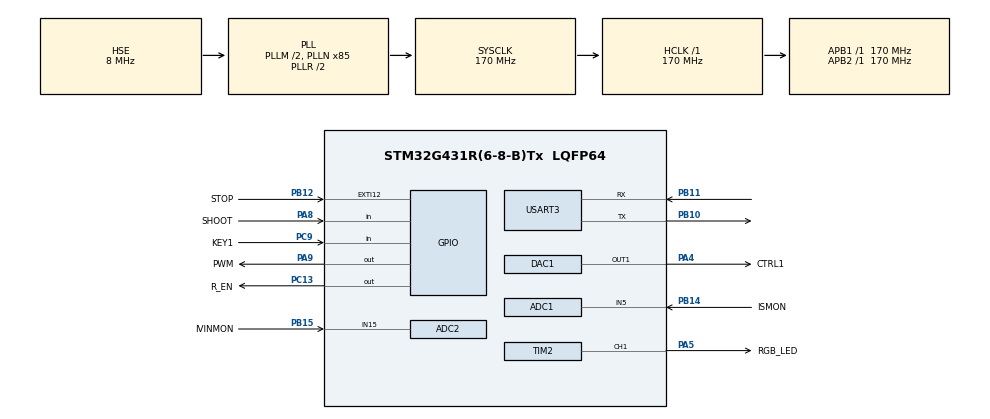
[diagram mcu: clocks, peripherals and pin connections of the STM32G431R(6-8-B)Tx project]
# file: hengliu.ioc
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ADC1.Channel-1\#ChannelRegularConversion=ADC_CHANNEL_5
ADC1.NbrOfConversionFlag=1
ADC1.OffsetNumber-1\#ChannelRegularConversion=ADC_OFFSET_NONE
ADC1.Rank-1\#ChannelRegularConversion=1
ADC1.SamplingTime-1\#ChannelRegularConversion=ADC_SAMPLETIME_247CYCLES_5
ADC1.master=1
ADC2.Channel-1\#ChannelRegularConversion=ADC_CHANNEL_15
ADC2.NbrOfConversionFlag=1
ADC2.OffsetNumber-1\#ChannelRegularConversion=ADC_OFFSET_NONE
ADC2.Rank-1\#ChannelRegularConversion=1
ADC2.SamplingTime-1\#ChannelRegularConversion=ADC_SAMPLETIME_247CYCLES_5
Dma.Request0=TIM2_CH1
Dma.TIM2_CH1.0.Direction=DMA_MEMORY_TO_PERIPH
Dma.TIM2_CH1.0.EventEnable=DISABLE
Dma.TIM2_CH1.0.Instance=DMA1_Channel1
Dma.TIM2_CH1.0.MemDataAlignment=DMA_MDATAALIGN_WORD
Dma.TIM2_CH1.0.MemInc=DMA_MINC_ENABLE
Dma.TIM2_CH1.0.Mode=DMA_NORMAL
Dma.TIM2_CH1.0.PeriphDataAlignment=DMA_PDATAALIGN_WORD
Dma.TIM2_CH1.0.PeriphInc=DMA_PINC_DISABLE
Dma.TIM2_CH1.0.Polarity=HAL_DMAMUX_REQ_GEN_RISING
Dma.TIM2_CH1.0.Priority=DMA_PRIORITY_LOW
Dma.TIM2_CH1.0.RequestNumber=1
Dma.TIM2_CH1.0.SignalID=NONE
Dma.TIM2_CH1.0.SyncEnable=DISABLE
Dma.TIM2_CH1.0.SyncPolarity=HAL_DMAMUX_SYNC_NO_EVENT
Dma.TIM2_CH1.0.SyncRequestNumber=1
Dma.TIM2_CH1.0.SyncSignalID=NONE
IWDG.Prescaler=IWDG_PRESCALER_32
IWDG.Reload=199
Mcu.Family=STM32G4
Mcu.Name=STM32G431R(6-8-B)Tx
Mcu.Package=LQFP64
NVIC.DMA1_Channel1_IRQn=true\:7\:0\:true\:false\:true\:false\:true\:true
NVIC.EXTI15_10_IRQn=true\:1\:0\:true\:false\:true\:true\:true\:true
NVIC.PriorityGroup=NVIC_PRIORITYGROUP_4
NVIC.TIM6_DAC_IRQn=true\:0\:0\:false\:false\:true\:true\:true\:true
PA13.Mode=Serial_Wire
PA13.Signal=SYS_JTMS-SWDIO
PA14.Mode=Serial_Wire
PA14.Signal=SYS_JTCK-SWCLK
PA4.GPIO_Label=CTRL1
PA4.Signal=COMP_DAC11_group
PA5.GPIO_Label=RGB_LED
PA5.Signal=S_TIM2_CH1
PA8.GPIO_Label=SHOOT
PA8.GPIO_PuPd=GPIO_PULLUP
PA8.Signal=GPIO_Input
PA9.GPIO_Label=PWM
PA9.GPIO_ModeDefaultOutputPP=GPIO_MODE_OUTPUT_PP
PA9.GPIO_PuPd=GPIO_PULLDOWN
PA9.GPIO_Speed=GPIO_SPEED_FREQ_LOW
PA9.Signal=GPIO_Output
PB10.Mode=Asynchronous
PB10.Signal=USART3_TX
PB11.Mode=Asynchronous
PB11.Signal=USART3_RX
PB12.GPIO_Label=STOP
PB12.GPIO_ModeDefaultEXTI=GPIO_MODE_IT_FALLING
PB12.Signal=GPXTI12
PB14.GPIO_Label=ISMON
PB14.Mode=IN5-Single-Ended
PB14.Signal=ADC1_IN5
PB15.GPIO_Label=IVINMON
PB15.Mode=IN15-Single-Ended
PB15.Signal=ADC2_IN15
PC13.GPIO_Label=R_EN
PC13.Signal=GPIO_Output
PC9.GPIO_Label=KEY1
PC9.GPIO_PuPd=GPIO_PULLUP
PC9.Signal=GPIO_Input
PF0-OSC_IN.Mode=HSE-External-Oscillator
PF0-OSC_IN.Signal=RCC_OSC_IN
PF1-OSC_OUT.Mode=HSE-External-Oscillator
PF1-OSC_OUT.Signal=RCC_OSC_OUT
ProjectManager.HeapSize=0x200
ProjectManager.StackSize=0x400
ProjectManager.TargetToolchain=CMake
RCC.ADC12Freq_Value=170000000
RCC.AHBFreq_Value=170000000
RCC.APB1Freq_Value=170000000
RCC.APB1TimFreq_Value=170000000
RCC.APB2Freq_Value=170000000
RCC.APB2TimFreq_Value=170000000
RCC.CK48CLockSelection=RCC_USBCLKSOURCE_HSI48
RCC.CortexFreq_Value=170000000
RCC.EXTERNAL_CLOCK_VALUE=12288000
RCC.EnbaleCSS=true
RCC.HCLKFreq_Value=170000000
RCC.HSE_VALUE=8000000
RCC.HSI48_VALUE=48000000
RCC.HSI_VALUE=16000000
RCC.LSE_VALUE=32768
RCC.PLLM=RCC_PLLM_DIV2
RCC.PLLN=85
RCC.PLLSourceVirtual=RCC_PLLSOURCE_HSE
RCC.SYSCLKFreq_VALUE=170000000
RCC.SYSCLKSource=RCC_SYSCLKSOURCE_PLLCLK
RCC.USBFreq_Value=48000000
RCC.VCOOutputFreq_Value=340000000
SH.COMP_DAC11_group.0=DAC1_OUT1,DAC_OUT1
SH.S_TIM2_CH1.0=TIM2_CH1,PWM Generation1 CH1
TIM2.Channel-PWM\ Generation1\ CH1=TIM_CHANNEL_1
USART3.VirtualMode-Asynchronous=VM_ASYNC
VP_IWDG_VS_IWDG.Mode=IWDG_Activate
VP_SYS_VS_DBSignals.Mode=DisableDeadBatterySignals
VP_TIM6_VS_ClockSourceINT.Mode=Enable_Timer
board=custom

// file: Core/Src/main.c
/* USER CODE BEGIN Header */
/**
  ******************************************************************************
  * @file           : main.c
  * @brief          : Main program body
  ******************************************************************************
  * @attention
  *
  * Copyright (c) 2026 STMicroelectronics.
  * All rights reserved.
  *
  * This software is licensed under terms that can be found in the LICENSE file
  * in the root directory of this software component.
  * If no LICENSE file comes with this software, it is provided AS-IS.
  *
  ******************************************************************************
  */
/* USER CODE END Header */
#include "main.h"
#include "adc.h"
#include "dac.h"
#include "dma.h"
#include "iwdg.h"
#include "tim.h"
#include "usart.h"
#include "gpio.h"

/* USER CODE BEGIN PD */
// 测试模式 (K2 在 CubeMX 里引脚名叫 KEY1)
// 0: 按住K2出光, 松手关
// 1: 按一下开, 再按一下关
// 2: 按一下开始循环, 开1s关100ms, 再按一下停
#ifndef BENCH_MODE
#define BENCH_MODE        1
#endif
#if BENCH_MODE > 2
#error "BENCH_MODE must be 0, 1 or 2"
#endif

#define TEST_DAC_VALUE    3645    // K2测试时的DAC设定值
#define BENCH_ON_MS       1000
#define BENCH_OFF_MS      100

// SHOOT外部控制 1: 出光跟着SHOOT电平走, K2只能停  0: 不用SHOOT
#ifndef SHOOT_CTRL
#define SHOOT_CTRL        0
#endif
#define SHOOT_DAC_VALUE   TEST_DAC_VALUE  // 第一次接激光器先改成1215(约6A)

#define KEY_DEBOUNCE_MS   20      // 按键消抖
#define SHOOT_DEBOUNCE_MS 5       // SHOOT输入消抖
#define FAULT_FILTER_MS   5       // STOP连续低5ms才算故障
#define FAULT_BLINK_MS    250     // 故障时指示灯闪烁间隔

#define DAC_STEP          50      // DAC缓升, 每ms加50
#define START_MASK_EXTRA  100     // 启动屏蔽 = 缓升时间 + 100ms
#define START_MASK_MAX    200     // 屏蔽时间最长200ms

#define CUR_OK_MS         100     // 电流正常持续100ms才亮灯
#define CUR_TIMEOUT_MS    5       // 采样超过5ms没更新就不算
#define CUR_TOL_PCT       20      // 允许偏差 +-20%

/* USER CODE END PD */

/* USER CODE BEGIN PV */
volatile LaserState_t laser_state = LASER_IDLE;
volatile uint16_t start_mask_cnt = 0;      // 启动屏蔽倒计时
volatile uint16_t fault_cnt = 0;           // STOP低电平滤波计数
volatile uint16_t shoot_dac = 0;           // SHOOT触发用的DAC值, 0=不出光

static volatile uint16_t dac_target = 0;
static volatile uint16_t dac_now = 0;
static volatile uint16_t led_blink_cnt = 0;

static volatile uint8_t  shoot_en = 0;
static volatile uint8_t  shoot_active = 1; // 消抖后的SHOOT, 1=有信号
static volatile uint16_t shoot_cnt = 0;
static volatile uint8_t  shoot_on_req = 0;

static volatile uint16_t key_cnt = 0;
static volatile uint8_t  key_down = 0;     // 消抖后确认按下
static volatile uint8_t  key_req = 0;      // 请求主循环启动
static volatile uint8_t  key_wait_up = 0;  // 要先松开按键

// ISMON电流采样, 调试时在Watch窗口看
volatile uint16_t ismon_adc = 0;
volatile uint16_t ismon_target = 0;
volatile uint8_t  ismon_ok = 0;
static volatile uint16_t ismon_age = CUR_TIMEOUT_MS;
static volatile uint16_t ismon_good_cnt = 0;

static volatile uint32_t tim6_cnt = 0;     // TIM6任务执行次数, 喂狗用
static uint32_t wdg_last_cnt = 0;

#if BENCH_MODE != 0
static volatile uint8_t  bench_run = 0;
static volatile uint16_t bench_time = 0;
#endif

/* USER CODE END PV */

void SystemClock_Config(void);
/* USER CODE BEGIN PFP */
static void DAC_SetValue(uint16_t val);
static void TIM6_Start_1ms(void);
static void Stop_IT_Off(void);
static uint8_t Stop_IT_On(void);
static uint16_t Calc_Mask_Time(uint16_t dac);
static void DAC_Ramp(void);
static void Stop_Check(void);
static void Shoot_Debounce(void);
static void Shoot_Task(void);
static void Key_Scan(void);
static void Key_Task(void);
static void Current_Sample(void);
static void Current_LED_Update(void);
static void Fault_LED_Blink(void);
static void IWDG_Feed(void);
#if BENCH_MODE != 0
static void Bench_Task(void);
#endif

/* USER CODE END PFP */

/* USER CODE BEGIN 0 */
static void DAC_SetValue(uint16_t val)
{
  if (val > 4095) val = 4095;

  if (HAL_DAC_SetValue(&hdac1, DAC_CHANNEL_1, DAC_ALIGN_12B_R, val) != HAL_OK)
  {
    Error_Handler();
  }
}

// TIM6配成1ms中断, 分频按实际PCLK1算
static void TIM6_Start_1ms(void)
{
  uint32_t clk = HAL_RCC_GetPCLK1Freq();

  // APB1有分频时定时器时钟x2
  if ((RCC->CFGR & RCC_CFGR_PPRE1) != 0)
  {
    clk *= 2;
  }

  __HAL_TIM_DISABLE(&htim6);
  __HAL_TIM_DISABLE_IT(&htim6, TIM_IT_UPDATE);
  __HAL_TIM_SET_PRESCALER(&htim6, clk / 1000000 - 1);   // 1MHz
  __HAL_TIM_SET_AUTORELOAD(&htim6, 1000 - 1);           // 1ms
  __HAL_TIM_SET_COUNTER(&htim6, 0);
  HAL_TIM_GenerateEvent(&htim6, TIM_EVENTSOURCE_UPDATE);
  __HAL_TIM_CLEAR_FLAG(&htim6, TIM_FLAG_UPDATE);

  if (HAL_TIM_Base_Start_IT(&htim6) != HAL_OK)
  {
    Error_Handler();
  }
}

static void Stop_IT_Off(void)
{
  EXTI->IMR1 &= ~(uint32_t)STOP_Pin;
  __HAL_GPIO_EXTI_CLEAR_IT(STOP_Pin);
  HAL_NVIC_ClearPendingIRQ(STOP_EXTI_IRQn);
}

// 打开STOP中断, 返回0说明STOP现在就是低电平, 没有打开
static uint8_t Stop_IT_On(void)
{
  __HAL_GPIO_EXTI_CLEAR_IT(STOP_Pin);
  HAL_NVIC_ClearPendingIRQ(STOP_EXTI_IRQn);

  if (HAL_GPIO_ReadPin(STOP_GPIO_Port, STOP_Pin) == GPIO_PIN_RESET)
  {
    return 0;
  }
  EXTI->IMR1 |= (uint32_t)STOP_Pin;
  return 1;
}

// 启动屏蔽时间: DAC缓升要的时间再加100ms, 最多200ms
static uint16_t Calc_Mask_Time(uint16_t dac)
{
  uint32_t t = ((uint32_t)dac + DAC_STEP - 1) / DAC_STEP + START_MASK_EXTRA;

  if (t > START_MASK_MAX) t = START_MASK_MAX;
  return (uint16_t)t;
}

// DAC缓升
static void DAC_Ramp(void)
{
  uint16_t next;

  if (laser_state != LASER_STARTING && laser_state != LASER_RUNNING)
    return;
  if (dac_now >= dac_target)
    return;

  next = dac_now + DAC_STEP;
  if (next < dac_now || next > dac_target)
  {
    next = dac_target;
  }
  dac_now = next;
  DAC_SetValue(next);
}

// TIM6里轮询STOP脚, 和STOP中断共用fault_cnt
// 连续5次(5ms)都是低电平才锁故障
static void Stop_Check(void)
{
  if (laser_state != LASER_RUNNING)
  {
    return;
  }

  if (HAL_GPIO_ReadPin(STOP_GPIO_Port, STOP_Pin) == GPIO_PIN_RESET)
  {
    if (fault_cnt == 0)
    {
      Stop_IT_Off();
      fault_cnt = FAULT_FILTER_MS;
    }
    fault_cnt--;
    if (fault_cnt == 0)
    {
      Laser_Fault_Lock();
    }
  }
  else if (fault_cnt != 0)
  {
    // 低电平没持续够, 当干扰处理, 重新开中断
    fault_cnt = 0;
    if (Stop_IT_On() == 0)
    {
      // 开中断时又变低了, 重新计数
      fault_cnt = FAULT_FILTER_MS;
    }
  }
}

// SHOOT 1ms读一次, 连续5ms一样才认
// 光耦TLP2761是反相的, 外部有信号时PA8是低, 断线就是高
static void Shoot_Debounce(void)
{
  uint8_t now;

  if (!shoot_en)
    return;

  now = (HAL_GPIO_ReadPin(SHOOT_GPIO_Port, SHOOT_Pin) == GPIO_PIN_RESET) ? 1 : 0;
  if (now == shoot_active)
  {
    shoot_cnt = 0;
  }
  else if (++shoot_cnt >= SHOOT_DEBOUNCE_MS)
  {
    shoot_cnt = 0;
    shoot_active = now;
    shoot_on_req = now;   // 只有 无->有 才请求启动
  }

  // 信号撤了直接关. fault_cnt不为0是STOP在滤波, 等它判完
  if (!shoot_active && fault_cnt == 0 &&
      (laser_state == LASER_STARTING || laser_state == LASER_RUNNING))
  {
    Laser_Stop();
  }
}

// 主循环里处理SHOOT启动
static void Shoot_Task(void)
{
  uint32_t irq = __get_PRIMASK();

  __disable_irq();
  if (shoot_on_req)
  {
    shoot_on_req = 0;
    // 再确认下信号还在
    if (shoot_en && shoot_active && shoot_dac > 0)
      Laser_Start(shoot_dac);
  }
  __set_PRIMASK(irq);
}

// K2按键扫描, TIM6里1ms调用一次
static void Key_Scan(void)
{
  if (HAL_GPIO_ReadPin(KEY1_GPIO_Port, KEY1_Pin) == GPIO_PIN_RESET)
  {
    if (key_wait_up)
    {
      key_cnt = 0;
      return;
    }
    if (key_down)
      return;

    if(key_cnt < KEY_DEBOUNCE_MS)
      key_cnt++;
    if (key_cnt >= KEY_DEBOUNCE_MS)
    {
      key_down = 1;
#if SHOOT_CTRL
      shoot_on_req = 0;
      Laser_Stop();     // SHOOT控制时K2只当停止键
#elif BENCH_MODE != 0
      if (bench_run)
      {
        Laser_Stop();   // 在中断里直接关, 不等主循环
      }
      else if (laser_state == LASER_IDLE)
      {
        bench_run = 1;
        bench_time = 0;
        key_req = 1;
      }
#else
      key_req = 1;
#endif
    }
  }
  else
  {
    key_cnt = 0;
    key_wait_up = 0;
    if (key_down)
    {
      key_down = 0;
#if BENCH_MODE == 0 && SHOOT_CTRL == 0
      key_req = 0;
      Laser_Stop();     // 松手就关, 也放在中断里
#endif
    }
  }
}

static void Key_Task(void)
{
  uint32_t irq = __get_PRIMASK();

  __disable_irq();
  if (key_req)
  {
    key_req = 0;
    // 关中断后再确认一次, 防止中断里已经要停了这里又去启动
#if BENCH_MODE != 0
    if (bench_run)
#else
    if (key_down && !key_wait_up &&
        HAL_GPIO_ReadPin(KEY1_GPIO_Port, KEY1_Pin) == GPIO_PIN_RESET)
#endif
    {
      Laser_Start(TEST_DAC_VALUE);
#if BENCH_MODE != 0
      bench_time = 0;   // 从真正出光开始计时
#endif
    }
  }
  __set_PRIMASK(irq);
}

#if BENCH_MODE != 0
static void Bench_Task(void)
{
  if (!bench_run)
    return;

#if BENCH_MODE == 2
  // 上次的启动请求主循环还没处理, 先不计时
  if (key_req)
    return;

  if(bench_time < 0xFFFF)
    bench_time++;

  if (laser_state == LASER_IDLE)
  {
    if (bench_time >= BENCH_OFF_MS)
      key_req = 1;
  }
  else if (bench_time >= BENCH_ON_MS)
  {
    // STOP还在滤波就先不关, 不然Laser_Stop会把fault_cnt清掉
    if (fault_cnt != 0)
      return;
    Laser_Stop();
    if (laser_state == LASER_IDLE)
      bench_run = 1;    // Laser_Stop会清bench_run, 正常循环要再置1
  }
#endif
}
#endif

// 主循环里每ms采一次ISMON, 轮询方式, 不放到TIM6中断里
static void Current_Sample(void)
{
  static uint32_t last_tick = 0xFFFFFFFF;
  uint32_t now = HAL_GetTick();
  uint32_t irq;
  uint16_t raw = 0;
  uint8_t ok = 0;

  if(now == last_tick)
    return;
  last_tick = now;

  if (HAL_ADC_Start(&hadc1) == HAL_OK)
  {
    if (HAL_ADC_PollForConversion(&hadc1, 1) == HAL_OK)
    {
      raw = (uint16_t)HAL_ADC_GetValue(&hadc1);
      ok = 1;
    }
  }
  if (HAL_ADC_Stop(&hadc1) != HAL_OK)
    ok = 0;

  // len = sprintf(buf, "adc=%d\r\n", raw);
  // HAL_UART_Transmit(&huart3, (uint8_t *)buf, len, 10);

  irq = __get_PRIMASK();
  __disable_irq();
  ismon_adc = raw;
  ismon_ok = ok;
  ismon_age = 0;
  if (!ok)
    ismon_good_cnt = 0;
  __set_PRIMASK(irq);
}

// 出光时电流在目标值+-20%以内持续100ms, 指示灯亮
static void Current_LED_Update(void)
{
  uint32_t meas, target;

  if (ismon_age < CUR_TIMEOUT_MS)
    ismon_age++;

  /* 换算: CTRL = 30*Rs*I, ISMON = 20*Rs*I
   * ISMON经R2/R19(10k/8.2k)分压进ADC, ADC和DAC共用VREF+
   * 目标ADC = DAC * (8.2/18.2) * (20/30) = DAC * 82 / 273
   * TODO: 按电阻标称值算的, 没有实际标定过
   */
  target = (uint32_t)dac_target * 82;
  ismon_target = (uint16_t)((target + 136) / 273);
  meas = (uint32_t)ismon_adc * 273 * 100;

  if (laser_state == LASER_RUNNING && target > 0 && fault_cnt == 0 &&
      HAL_GPIO_ReadPin(STOP_GPIO_Port, STOP_Pin) == GPIO_PIN_SET &&
      ismon_ok && ismon_age < CUR_TIMEOUT_MS &&
      meas >= target * (100 - CUR_TOL_PCT) &&
      meas <= target * (100 + CUR_TOL_PCT))
  {
    if (ismon_good_cnt < CUR_OK_MS)
      ismon_good_cnt++;
  }
  else
  {
    ismon_good_cnt = 0;
  }

  // 故障时灯给Fault_LED_Blink用
  if (laser_state != LASER_FAULT)
  {
    HAL_GPIO_WritePin(R_EN_GPIO_Port, R_EN_Pin,
                      ismon_good_cnt >= CUR_OK_MS ? GPIO_PIN_SET : GPIO_PIN_RESET);
  }
}

// 故障锁存后指示灯250ms翻转一次
static void Fault_LED_Blink(void)
{
  if (laser_state != LASER_FAULT)
    return;

  if (led_blink_cnt > 0)
    led_blink_cnt--;

  if (led_blink_cnt == 0)
  {
    HAL_GPIO_TogglePin(R_EN_GPIO_Port, R_EN_Pin);
    led_blink_cnt = FAULT_BLINK_MS;
  }
}

// TIM6任务完整跑完一次才喂一次狗
static void IWDG_Feed(void)
{
  uint32_t cnt = tim6_cnt;

  if (cnt != wdg_last_cnt)
  {
    wdg_last_cnt = cnt;
    HAL_IWDG_Refresh(&hiwdg);
  }
}

// 放在MX_xxx_Init后面调
void Laser_Init(void)
{
  laser_state = LASER_IDLE;
  start_mask_cnt = 0;
  fault_cnt = 0;
  dac_target = 0;
  dac_now = 0;
  led_blink_cnt = 0;

  shoot_en = 0;
  shoot_active = 1;
  shoot_cnt = 0;
  shoot_on_req = 0;

  key_cnt = 0;
  key_down = 0;
  key_req = 0;
  // 上电时K2就按着的话要先松开, 防止一上电就出光
  key_wait_up = (HAL_GPIO_ReadPin(KEY1_GPIO_Port, KEY1_Pin) == GPIO_PIN_RESET) ? 1 : 0;
#if BENCH_MODE != 0
  bench_run = 0;
  bench_time = 0;
#endif

  ismon_adc = 0;
  ismon_target = 0;
  ismon_ok = 0;
  ismon_age = CUR_TIMEOUT_MS;
  ismon_good_cnt = 0;
  tim6_cnt = 0;
  wdg_last_cnt = 0;

  Stop_IT_Off();
  HAL_GPIO_WritePin(PWM_GPIO_Port, PWM_Pin, GPIO_PIN_RESET);
  HAL_GPIO_WritePin(R_EN_GPIO_Port, R_EN_Pin, GPIO_PIN_RESET);

  // 先写0再打开DAC输出, 避免PA4输出不确定
  DAC_SetValue(0);
  if (HAL_DAC_Start(&hdac1, DAC_CHANNEL_1) != HAL_OK)
  {
    Error_Handler();
  }
  DAC_SetValue(0);

  TIM6_Start_1ms();
}

/**
  * @brief  SHOOT外部控制 1开 0关, 故障时开不了
  * @note   上电时信号已经在的话不出光, 要撤掉再给一次
  */
void Shoot_Enable(uint8_t en)
{
  uint32_t irq = __get_PRIMASK();

  __disable_irq();
  shoot_cnt = 0;
  shoot_on_req = 0;
  shoot_active = 1;
  shoot_en = (en && laser_state != LASER_FAULT) ? 1 : 0;
  __set_PRIMASK(irq);
}

/**
  * @brief  开始出光, PWM拉高, DAC从0缓升到目标值
  * @param  dac: 目标DAC值 0~4095
  * @note   只有空闲状态能启动, 启动后屏蔽一段时间再检测STOP
  */
void Laser_Start(uint16_t dac)
{
  uint32_t irq = __get_PRIMASK();

  __disable_irq();
  if (laser_state != LASER_IDLE)
  {
    __set_PRIMASK(irq);
    return;
  }

  if (dac > 4095) dac = 4095;

  Stop_IT_Off();
  fault_cnt = 0;
  led_blink_cnt = 0;
  dac_target = dac;
  dac_now = 0;
  ismon_ok = 0;
  ismon_good_cnt = 0;
  HAL_GPIO_WritePin(R_EN_GPIO_Port, R_EN_Pin, GPIO_PIN_RESET);

  DAC_SetValue(0);
  HAL_GPIO_WritePin(PWM_GPIO_Port, PWM_Pin, GPIO_PIN_SET);

  start_mask_cnt = Calc_Mask_Time(dac);
  laser_state = LASER_STARTING;

  __set_PRIMASK(irq);
}

// 正常关断, 故障锁存时不管
void Laser_Stop(void)
{
  uint32_t irq = __get_PRIMASK();

  __disable_irq();
#if BENCH_MODE != 0
  bench_run = 0;
  bench_time = 0;
  key_req = 0;
#endif

  if (laser_state == LASER_FAULT)
  {
    __set_PRIMASK(irq);
    return;
  }

  Stop_IT_Off();

  laser_state = LASER_IDLE;
  start_mask_cnt = 0;
  fault_cnt = 0;
  led_blink_cnt = 0;
  dac_target = 0;
  dac_now = 0;

  PWM_GPIO_Port->BRR = PWM_Pin;
  DAC_SetValue(0);
  HAL_GPIO_WritePin(R_EN_GPIO_Port, R_EN_Pin, GPIO_PIN_RESET);

  __set_PRIMASK(irq);
}

/**
  * @brief  故障关断并锁存
  * @note   锁存后按键和SHOOT都不能再启动, 要Laser_Fault_Clear或者复位
  */
void Laser_Fault_Lock(void)
{
#if BENCH_MODE != 0
  bench_run = 0;
  bench_time = 0;
#endif
  Stop_IT_Off();

  PWM_GPIO_Port->BRR = PWM_Pin;
  DAC_SetValue(0);

  start_mask_cnt = 0;
  fault_cnt = 0;
  dac_target = 0;
  dac_now = 0;
  shoot_cnt = 0;
  shoot_en = 0;
  shoot_active = 1;
  shoot_on_req = 0;
  key_cnt = 0;
  key_down = 0;
  key_req = 0;
  key_wait_up = 1;
  led_blink_cnt = FAULT_BLINK_MS;
  laser_state = LASER_FAULT;

  // 先点亮, 后面TIM6里Fault_LED_Blink负责闪
  HAL_GPIO_WritePin(R_EN_GPIO_Port, R_EN_Pin, GPIO_PIN_SET);
}

/**
  * @brief  清除故障锁存, 回到空闲
  * @retval 1
  */
uint8_t Laser_Fault_Clear(void)
{
  if (laser_state != LASER_FAULT)
    return 1;

  Stop_IT_Off();

  PWM_GPIO_Port->BRR = PWM_Pin;
  DAC_SetValue(0);

  start_mask_cnt = 0;
  fault_cnt = 0;
  dac_target = 0;
  dac_now = 0;
  shoot_cnt = 0;
  shoot_en = 0;
  shoot_active = 1;
  shoot_on_req = 0;
  key_cnt = 0;
  key_down = 0;
  key_req = 0;
  key_wait_up = 1;    // 清完故障也要先松开按键

  led_blink_cnt = 0;
  laser_state = LASER_IDLE;
  HAL_GPIO_WritePin(R_EN_GPIO_Port, R_EN_Pin, GPIO_PIN_RESET);
  return 1;
}

/**
  * @brief  异常处理里用, 直接写寄存器关输出
  * @note   不调用HAL, 关中断后不再打开
  */
void Laser_Force_Off(void)
{
  __disable_irq();

  // GPIOA时钟没开说明PA9还没初始化
  if (RCC->AHB2ENR & RCC_AHB2ENR_GPIOAEN)
  {
    PWM_GPIO_Port->BRR = PWM_Pin;
  }
  // DAC没开触发, 写DHR就直接更新输出
  if (RCC->AHB2ENR & RCC_AHB2ENR_DAC1EN)
  {
    DAC1->DHR12R1 = 0;
  }
  if (RCC->AHB2ENR & RCC_AHB2ENR_GPIOCEN)
  {
    R_EN_GPIO_Port->BRR = R_EN_Pin;
  }
  __DSB();
}

/* USER CODE END 0 */

int main(void)
{

  /* MCU Configuration--------------------------------------------------------*/

  /* Reset of all peripherals, Initializes the Flash interface and the Systick. */
  HAL_Init();

  /* Configure the system clock */
  SystemClock_Config();

  /* Initialize all configured peripherals */
  MX_GPIO_Init();
  MX_DMA_Init();
  MX_DAC1_Init();
  MX_TIM2_Init();
  MX_USART3_UART_Init();
  MX_ADC1_Init();
  MX_ADC2_Init();
  MX_TIM6_Init();
  MX_IWDG_Init();
  /* USER CODE BEGIN 2 */
  if (HAL_ADCEx_Calibration_Start(&hadc1, ADC_SINGLE_ENDED) != HAL_OK)
  {
    Error_Handler();
  }
  Laser_Init();
#if SHOOT_CTRL
  shoot_dac = SHOOT_DAC_VALUE;
  Shoot_Enable(1);
#else
  shoot_dac = 0;
  Shoot_Enable(0);    // SHOOT外部触发暂时不用
#endif

  /* USER CODE END 2 */

  /* Infinite loop */
  while (1)
  {

    /* USER CODE BEGIN 3 */
    Key_Task();
    Shoot_Task();
    Current_Sample();
    IWDG_Feed();
  }
  /* USER CODE END 3 */
}

void SystemClock_Config(void)
{
  RCC_OscInitTypeDef RCC_OscInitStruct = {0};
  RCC_ClkInitTypeDef RCC_ClkInitStruct = {0};

  /** Configure the main internal regulator output voltage
  */
  HAL_PWREx_ControlVoltageScaling(PWR_REGULATOR_VOLTAGE_SCALE1_BOOST);

  /** Initializes the RCC Oscillators according to the specified parameters
  * in the RCC_OscInitTypeDef structure.
  */
  RCC_OscInitStruct.OscillatorType = RCC_OSCILLATORTYPE_LSI|RCC_OSCILLATORTYPE_HSE;
  RCC_OscInitStruct.HSEState = RCC_HSE_ON;
  RCC_OscInitStruct.LSIState = RCC_LSI_ON;
  RCC_OscInitStruct.PLL.PLLState = RCC_PLL_ON;
  RCC_OscInitStruct.PLL.PLLSource = RCC_PLLSOURCE_HSE;
  RCC_OscInitStruct.PLL.PLLM = RCC_PLLM_DIV2;
  RCC_OscInitStruct.PLL.PLLN = 85;
  RCC_OscInitStruct.PLL.PLLP = RCC_PLLP_DIV2;
  RCC_OscInitStruct.PLL.PLLQ = RCC_PLLQ_DIV2;
  RCC_OscInitStruct.PLL.PLLR = RCC_PLLR_DIV2;
  if (HAL_RCC_OscConfig(&RCC_OscInitStruct) != HAL_OK)
  {
    Error_Handler();
  }

  /** Initializes the CPU, AHB and APB buses clocks
  */
  RCC_ClkInitStruct.ClockType = RCC_CLOCKTYPE_HCLK|RCC_CLOCKTYPE_SYSCLK
                              |RCC_CLOCKTYPE_PCLK1|RCC_CLOCKTYPE_PCLK2;
  RCC_ClkInitStruct.SYSCLKSource = RCC_SYSCLKSOURCE_PLLCLK;
  RCC_ClkInitStruct.AHBCLKDivider = RCC_SYSCLK_DIV1;
  RCC_ClkInitStruct.APB1CLKDivider = RCC_HCLK_DIV1;
  RCC_ClkInitStruct.APB2CLKDivider = RCC_HCLK_DIV1;

  if (HAL_RCC_ClockConfig(&RCC_ClkInitStruct, FLASH_LATENCY_4) != HAL_OK)
  {
    Error_Handler();
  }

  /** Enables the Clock Security System
  */
  HAL_RCC_EnableCSS();
}

/* USER CODE BEGIN 4 */
// TIM6 1ms中断: 消抖, DAC缓升, 启动屏蔽, STOP检测, 指示灯
void HAL_TIM_PeriodElapsedCallback(TIM_HandleTypeDef *htim)
{
  if (htim->Instance != TIM6)
    return;

  Shoot_Debounce();
  Key_Scan();
  DAC_Ramp();

  // 屏蔽时间到, STOP正常就进入RUNNING并打开STOP中断
  if (laser_state == LASER_STARTING && start_mask_cnt > 0)
  {
    start_mask_cnt--;
    if (start_mask_cnt == 0)
    {
      if (HAL_GPIO_ReadPin(STOP_GPIO_Port, STOP_Pin) == GPIO_PIN_RESET)
        Laser_Fault_Lock();
      else if (Stop_IT_On())
        laser_state = LASER_RUNNING;
      else
        Laser_Fault_Lock();
    }
  }

  Stop_Check();
#if BENCH_MODE != 0
  Bench_Task();
#endif
  Current_LED_Update();
  Fault_LED_Blink();

  tim6_cnt++;   // 放最后, 前面全部执行完才算一次
}

// 现在只有STOP用外部中断, SHOOT改到TIM6里轮询了
void HAL_GPIO_EXTI_Callback(uint16_t GPIO_Pin)
{
  if (GPIO_Pin == STOP_Pin)
  {
    // STOP下降沿: 先关中断, 滤波交给TIM6里的Stop_Check
    uint32_t irq = __get_PRIMASK();
    __disable_irq();
    Stop_IT_Off();
    if (laser_state == LASER_RUNNING)
    {
      if (fault_cnt == 0)
        fault_cnt = FAULT_FILTER_MS;
    }
    else
    {
      fault_cnt = 0;
    }
    __set_PRIMASK(irq);
  }
}

/* USER CODE END 4 */

void Error_Handler(void)
{
  /* USER CODE BEGIN Error_Handler_Debug */
  /* User can add his own implementation to report the HAL error return state */
  Laser_Force_Off();
  while (1)
  {
  }
  /* USER CODE END Error_Handler_Debug */
}
